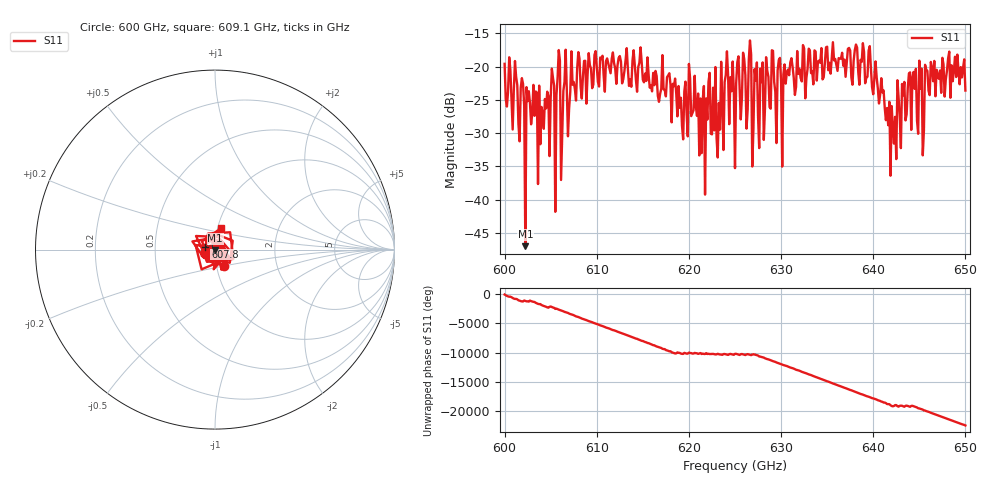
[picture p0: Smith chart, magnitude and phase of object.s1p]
!Created with skrf (http://scikit-rf.org).
# GHz S MA R 50.0
!freq magS11 angS11
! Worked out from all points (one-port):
!   401 points, 600 GHz to 650 GHz, reference 50 ohm
!   lowest |S11| = -47.0 dB at 602.2 GHz (marker M1), VSWR 1.01, Z = 50.1 - j0.442 ohm
!   |S11| at or under -10 dB: start of sweep to end of sweep
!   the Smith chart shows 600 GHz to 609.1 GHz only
!   S11 on the Smith chart (normalised r, x): 600 GHz: 1.08, -0.20; 607.8 GHz: 0.90, +0.03; 609.1 GHz: 1.04, +0.26
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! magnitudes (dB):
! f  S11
! 600 GHz  -19.6
! 601.9 GHz  -21.7
! 602.2 GHz  -47.0
! 602.5 GHz  -25.2
! 602.6 GHz  -23.7
! 603.9 GHz  -31.7
! 605.1 GHz  -20.3
! 606.2 GHz  -30.6
! 607.8 GHz  -25.1
! 609.1 GHz  -18.0
! 612.5 GHz  -18.4
! 618.8 GHz  -27.5
! 620.8 GHz  -26.0
! 621.6 GHz  -22.9
! 622.1 GHz  -22.3
! 623.2 GHz  -25.5
! 624.1 GHz  -17.7
! 625 GHz  -35.3
! 626.5 GHz  -18.9
! 627.9 GHz  -22.3
! 629.1 GHz  -17.6
! 630.2 GHz  -21.2
! 631.2 GHz  -20.0
! 637.5 GHz  -17.6
! 639.6 GHz  -16.9
! 642.1 GHz  -29.0
! 643.8 GHz  -23.2
! 650 GHz  -23.6
